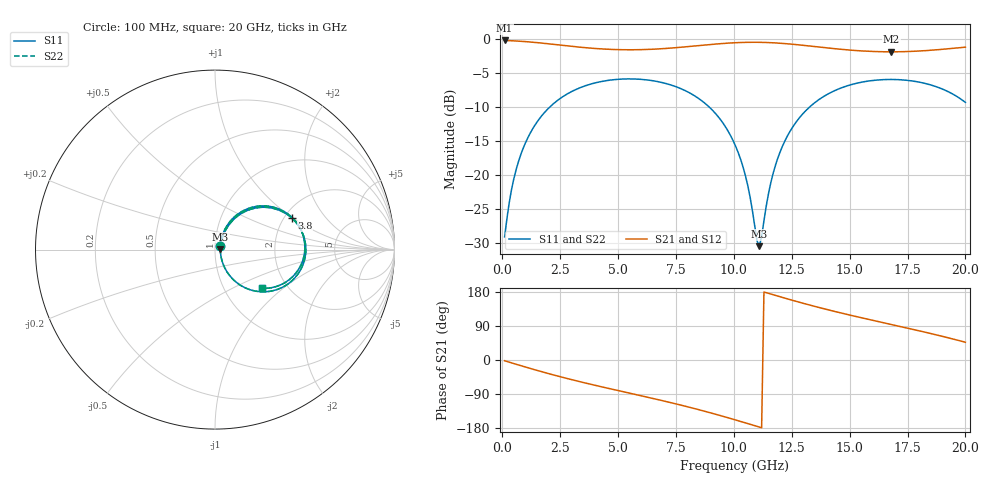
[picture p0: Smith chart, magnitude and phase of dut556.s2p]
! Touchstone file exported from HFSS 2026.1.0
!  File:  C:/ffzhzh/LocalFiles/Ansys_Project_Files/temp_train_TSV_RDL_556_1783115452_37876.aedt
!  Generated:  06:03:41 AM Jul  4, 2026
!  Design:  TSV_RDL
!  Project:  temp_train_TSV_RDL_556_1783115452_37876
! Variables:
!  h_bsmrdl = 3.34um
!  h_ox = 20um
!  h_rdl = 5um
!  h_sub = 57.72um
!  h_tmrdl = 5.34um
!  h_tsv = 57.72um
!  h_via = 3um
!  l_bsmrdl = 867.85um
!  l_sub = 5368.46um
!  l_tmrdl = 569.62um
!  m_sub = 200um
!  pitch = 37.71um
!  r_tsv = 13.36um
!  s_tmrdl = 10um
!  w_bsmrdl = 14.67um
!  w_sub = 500um
!  w_tmrdl = 14.14um
!  x_tsv_center1 = 576.69um
!  x_tsv_center2 = 1459.21um
!  x_tsv_center3 = 2042.97um
!  x_tsv_center4 = 2925.49um
!  x_tsv_center5 = 3509.25um
!  x_tsv_center6 = 4391.77um
# GHz S MA R 50.000000
! Terminal data exported
! Port[1] = TM_RDL1_1_T1
! Port[2] = TM_RDL5_1_T1
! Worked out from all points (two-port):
!   200 points, 100 MHz to 20 GHz, reference 50 ohm
!   highest |S21| = -0.26 dB at 100 MHz (marker M1); lowest = -1.9 dB at 16.8 GHz (marker M2)
!   |S21| within 3 dB of the highest: start of sweep to end of sweep
!   lowest |S11| = -30.5 dB at 11.1 GHz (marker M3), VSWR 1.06, Z = 53.1 + j0.314 ohm
!   |S11| at or under -10 dB: start of sweep to 2.07 GHz; 8.917 GHz to 13.29 GHz (4.372 GHz wide, 39.4 % of centre)
!   |S22| runs from -30.6 to -5.9 dB; largest |S21 - S12| = 1.6e-14
!   S11 on the Smith chart (normalised r, x): 100 MHz: 1.06, +0.04; 3.8 GHz: 2.19, +0.98; 20 GHz: 1.50, -0.73
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0.1  0.03485 30.1  0.9703 -1.9  0.9703 -1.9  0.03485 30.1
! Gamma 0 0 0 0
! Port Impedance 50 0 50 0
0.5  0.09346 60.1  0.9637 -9.5  0.9637 -9.5  0.09346 60.1
1.2  0.201 58.0  0.9455 -22.2  0.9455 -22.2  0.201 58.0
2.2  0.3313 44.8  0.9088 -39.3  0.9088 -39.3  0.3313 44.8
3.5  0.445 26.5  0.8611 -59.4  0.8611 -59.4  0.445 26.5
3.8  0.4625 22.4  0.8524 -63.8  0.8524 -63.8  0.4625 22.4
5.3  0.5056 2.6  0.8289 -84.8  0.8289 -84.8  0.5056 2.6
6.8  0.4797 -17.1  0.8417 -105.6  0.8417 -105.6  0.4797 -17.1
8.8  0.3296 -44.9  0.8998 -136.2  0.8998 -136.2  0.3296 -44.9
10.1  0.1584 -60.9  0.9345 -158.7  0.9345 -158.7  0.1583 -61.0
10.6  0.08325 -59.6  0.9403 -167.7  0.9403 -167.7  0.0832 -59.7
11  0.0326 -22.1  0.9409 -175.1  0.9409 -175.1  0.03247 -22.2
11.1  0.02976 5.7  0.9404 -176.9  0.9404 -176.9  0.02962 5.7
11.6  0.0877 62.2  0.9345 174.0  0.9345 174.0  0.08765 62.2
12  0.1472 63.4  0.9258 166.8  0.9258 166.8  0.1472 63.4
12.6  0.2318 57.5  0.9078 156.3  0.9078 156.3  0.2317 57.5
13.4  0.3283 46.9  0.8785 143.0  0.8785 143.0  0.3283 46.9
14.9  0.4501 26.5  0.8273 120.1  0.8273 120.1  0.45 26.5
16.7  0.5011 3.5  0.8004 95.1  0.8004 95.1  0.5011 3.4
16.8  0.5012 2.2  0.8004 93.7  0.8004 93.7  0.5012 2.2
18.6  0.4515 -20.8  0.8242 68.5  0.8242 68.5  0.4515 -20.9
20  0.3398 -39.4  0.8662 46.9  0.8662 46.9  0.3398 -39.5
